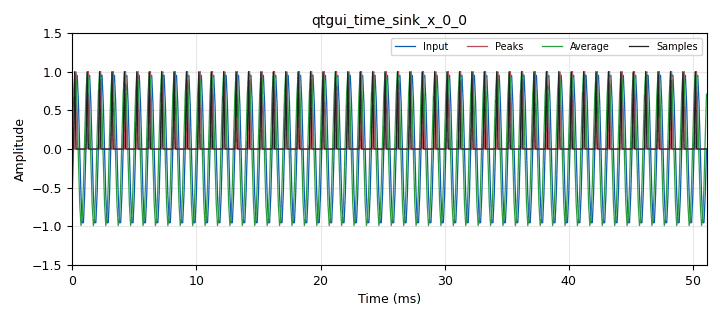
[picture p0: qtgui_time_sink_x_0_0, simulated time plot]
options:
  parameters:
    category: Custom
    generate_options: qt_gui
    id: cleanpeak
    output_language: python
    run_options: run
  states: {}

blocks:
- name: alpha
  id: variable
  parameters:
    value: '0.001'
  states: {}
- name: delay
  id: variable_qtgui_entry
  parameters:
    type: int
    value: '0'
  states: {}
- name: factor
  id: variable
  parameters:
    value: '0.3'
  states: {}
- name: lookahead
  id: variable
  parameters:
    value: int(samp_rate/1e3/1.1)
  states: {}
- name: samp_rate
  id: variable
  parameters:
    value: 100e2
  states: {}
- name: analog_sig_source_x_0
  id: analog_sig_source_x
  parameters:
    amp: '1'
    freq: '1000'
    offset: '0'
    phase: '0'
    samp_rate: samp_rate
    type: float
    waveform: analog.GR_SIN_WAVE
  states: {}
- name: analog_sig_source_x_0_0
  id: analog_sig_source_x
  parameters:
    amp: '1'
    freq: '1000'
    offset: '0'
    phase: 3.1415/4
    samp_rate: samp_rate
    type: float
    waveform: analog.GR_SIN_WAVE
  states: {}
- name: blocks_char_to_float_0
  id: blocks_char_to_float
  parameters:
    scale: '1'
  states: {}
- name: blocks_char_to_float_0_0
  id: blocks_char_to_float
  parameters:
    scale: '1'
  states: {}
- name: blocks_delay_0
  id: blocks_delay
  parameters:
    delay: delay
    type: float
  states: {}
- name: blocks_message_debug_0
  id: blocks_message_debug
  parameters: {}
  states: {}
- name: blocks_message_debug_0_0
  id: blocks_message_debug
  parameters: {}
  states: {}
- name: blocks_peak_detector2_fb_0
  id: blocks_peak_detector2_fb
  parameters:
    alpha: alpha
    look_ahead: lookahead
    threshold_factor_rise: factor
  states: {}
- name: blocks_peak_detector2_fb_0_0
  id: blocks_peak_detector2_fb
  parameters:
    alpha: alpha
    look_ahead: lookahead
    threshold_factor_rise: factor
  states: {}
- name: blocks_probe_rate_0
  id: blocks_probe_rate
  parameters:
    alpha: '0.15'
    mintime: '500.0'
    type: float
  states: {}
- name: blocks_probe_rate_0_0
  id: blocks_probe_rate
  parameters:
    alpha: '0.15'
    mintime: '500.0'
    type: float
  states: {}
- name: qtgui_time_sink_x_0
  id: qtgui_time_sink_x
  parameters:
    ctrlpanel: 'True'
    grid: 'True'
    label1: Input
    label2: Peaks
    label3: Average
    nconnections: '3'
    size: '512'
    srate: samp_rate
    tr_mode: qtgui.TRIG_MODE_AUTO
    type: float
    ymax: '1.5'
    ymin: '-1.5'
  states: {state: disabled}
- name: qtgui_time_sink_x_0_0
  id: qtgui_time_sink_x
  parameters:
    ctrlpanel: 'True'
    grid: 'True'
    label1: Input
    label2: Peaks
    label3: Average
    label4: Samples
    nconnections: '4'
    size: '512'
    srate: samp_rate
    tr_mode: qtgui.TRIG_MODE_AUTO
    type: float
    ymax: '1.5'
    ymin: '-1.5'
  states: {}

connections:
- [analog_sig_source_x_0, '0', blocks_peak_detector2_fb_0, '0']
- [analog_sig_source_x_0, '0', blocks_probe_rate_0, '0']
- [analog_sig_source_x_0, '0', qtgui_time_sink_x_0_0, '0']
- [analog_sig_source_x_0_0, '0', blocks_delay_0, '0']
- [blocks_char_to_float_0, '0', blocks_probe_rate_0_0, '0']
- [blocks_char_to_float_0, '0', qtgui_time_sink_x_0, '1']
- [blocks_char_to_float_0, '0', qtgui_time_sink_x_0_0, '1']
- [blocks_char_to_float_0_0, '0', qtgui_time_sink_x_0_0, '3']
- [blocks_delay_0, '0', blocks_peak_detector2_fb_0_0, '0']
- [blocks_delay_0, '0', qtgui_time_sink_x_0_0, '2']
- [blocks_peak_detector2_fb_0, '0', blocks_char_to_float_0, '0']
- [blocks_peak_detector2_fb_0, '1', qtgui_time_sink_x_0, '2']
- [blocks_peak_detector2_fb_0_0, '0', blocks_char_to_float_0_0, '0']
- [blocks_probe_rate_0, rate, blocks_message_debug_0, print]
- [blocks_probe_rate_0_0, rate, blocks_message_debug_0_0, print]

metadata:
  file_format: 1
